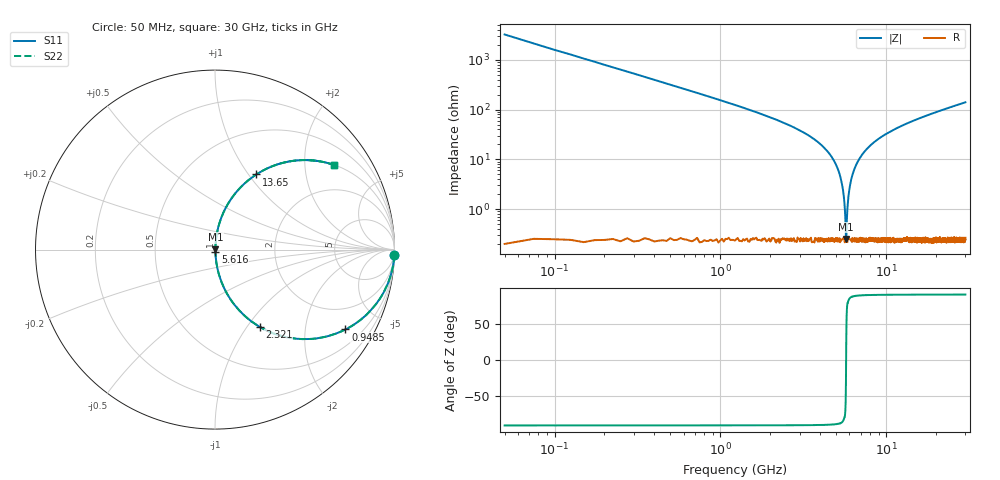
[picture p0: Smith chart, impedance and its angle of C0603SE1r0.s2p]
!	AVX Thin Film Operation 	Date: April 2014
!	Description: Accu-P® Series, Thin Film  SMD RF Capacitor
!	Part Number: 06031J1R0PBSTR
# MHZ S MA R 50
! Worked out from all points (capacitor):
!   1201 points, 50 MHz to 30 GHz, reference 50 ohm
!   read as one part in series: C = 999 fF near 199.8 MHz
!   lowest |Z| = 252 mohm at 5.74 GHz (marker M1)
!   series resonance near 5.728 GHz, so ESL is about 770 pH
!   S11 on the Smith chart (normalised r, x): 50 MHz: -0, -64; 948.5 MHz: 1.01, -3.26; 2.321 GHz: 1.01, -1.15; 5.616 GHz: 1.00, -0.02; 13.65 GHz: 1.00, +1.09; 30 GHz: 1.01, +2.80
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50  1 -1.8  0.031 88.2  0.031 88.2  1 -1.8
249.667  0.988 -8.9  0.155 81.0  0.155 81.0  0.988 -8.9
374.458  0.973 -13.3  0.23 76.7  0.23 76.7  0.973 -13.3
948.5  0.852 -31.5  0.522 58.4  0.522 58.4  0.852 -31.5
1522.542  0.696 -45.8  0.716 44.1  0.716 44.1  0.696 -45.8
2321.208  0.496 -60.0  0.866 29.8  0.866 29.8  0.496 -60.0
4068.292  0.19 -78.3  0.979 10.9  0.979 10.9  0.19 -78.3
5041.667  0.071 -84.0  0.995 4.1  0.995 4.1  0.071 -84.0
5416.042  0.031 -83.8  0.997 1.8  0.997 1.8  0.031 -83.8
5615.708  0.011 -77.0  0.998 0.6  0.998 0.6  0.011 -77.0
5740.5  0.002695 26.3  0.998 -0.1  0.998 -0.1  0.002695 26.3
5815.375  0.008722 73.4  0.998 -0.5  0.998 -0.5  0.008722 73.4
5965.125  0.023 82.6  0.997 -1.3  0.997 -1.3  0.023 82.6
6139.833  0.039 84.2  0.997 -2.2  0.997 -2.2  0.039 84.2
6763.792  0.092 83.2  0.993 -5.3  0.993 -5.3  0.092 83.2
7986.75  0.184 78.6  0.98 -10.6  0.98 -10.6  0.184 78.6
10058.29  0.312 71.4  0.948 -18.2  0.948 -18.2  0.312 71.4
13652.29  0.478 61.2  0.876 -28.6  0.876 -28.6  0.478 61.2
15025  0.528 57.9  0.847 -31.9  0.847 -31.9  0.528 57.9
20016.67  0.665 48.2  0.745 -41.6  0.745 -41.6  0.665 48.2
25033.29  0.754 40.9  0.655 -48.9  0.655 -48.9  0.754 40.9
30000  0.813 35.5  0.58 -54.4  0.58 -54.4  0.813 35.5
